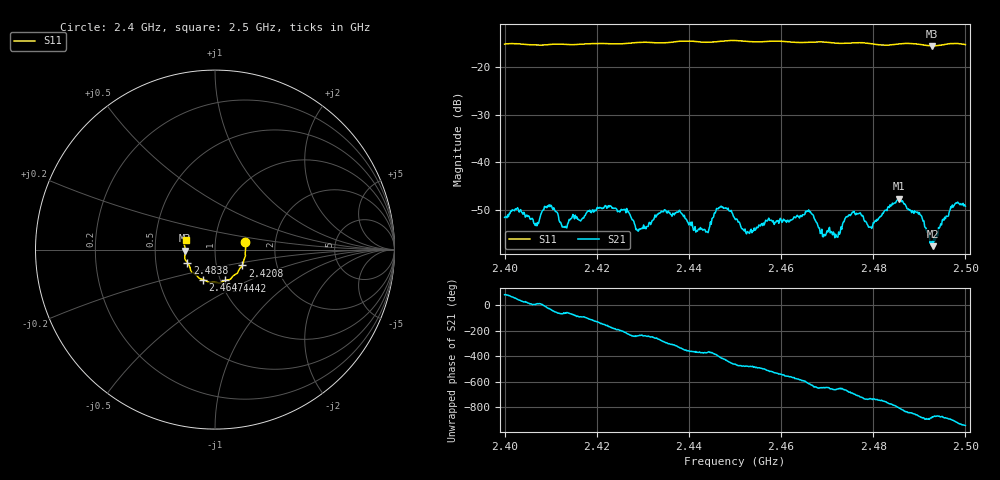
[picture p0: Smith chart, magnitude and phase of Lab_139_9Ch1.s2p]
# Hz S RI R 50
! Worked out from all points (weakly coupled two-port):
!   601 points, 2.4 GHz to 2.5 GHz, reference 50 ohm
!   highest |S21| = -47.61 dB at 2.4855 GHz (marker M1); lowest = -57.5 dB at 2.493 GHz (marker M2)
!   lowest |S11| = -15.6 dB at 2.4928 GHz (marker M3), VSWR 1.40, Z = 35.8 - j0.399 ohm
!   |S11| at or under -10 dB: start of sweep to end of sweep
!   S12 and S22 are empty: the file has one direction only
!   S11 on the Smith chart (normalised r, x): 2.4 GHz: 1.40, +0.12; 2.4208 GHz: 1.33, -0.24; 2.4442 GHz: 1.05, -0.37; 2.4647 GHz: 0.83, -0.29; 2.4838 GHz: 0.73, -0.11; 2.5 GHz: 0.72, +0.08
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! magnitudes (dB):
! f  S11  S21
! 2.4 GHz  -15.2  -51.5
! 2.4097 GHz  -15.3  -48.9
! 2.4167 GHz  -15.3  -52.0
! 2.4208 GHz  -15.1  -49.5
! 2.429 GHz  -14.9  -54.4
! 2.4333 GHz  -15.0  -50.8
! 2.4442 GHz  -14.9  -54.7
! 2.4465 GHz  -14.7  -49.5
! 2.45 GHz  -14.5  -51.8
! 2.4528 GHz  -14.7  -54.6
! 2.4647 GHz  -14.9  -50.9
! 2.4667 GHz  -14.8  -50.8
! 2.4722 GHz  -15.1  -55.7
! 2.4753 GHz  -15.0  -50.7
! 2.4793 GHz  -15.1  -53.6
! 2.4833 GHz  -15.4  -49.2
! 2.4838 GHz  -15.4  -49.1
! 2.4855 GHz  -15.2  -47.6
! 2.4928 GHz  -15.6  -56.4
! 2.493 GHz  -15.6  -57.5
! 2.4973 GHz  -15.1  -49.4
! 2.5 GHz  -15.3  -49.2
